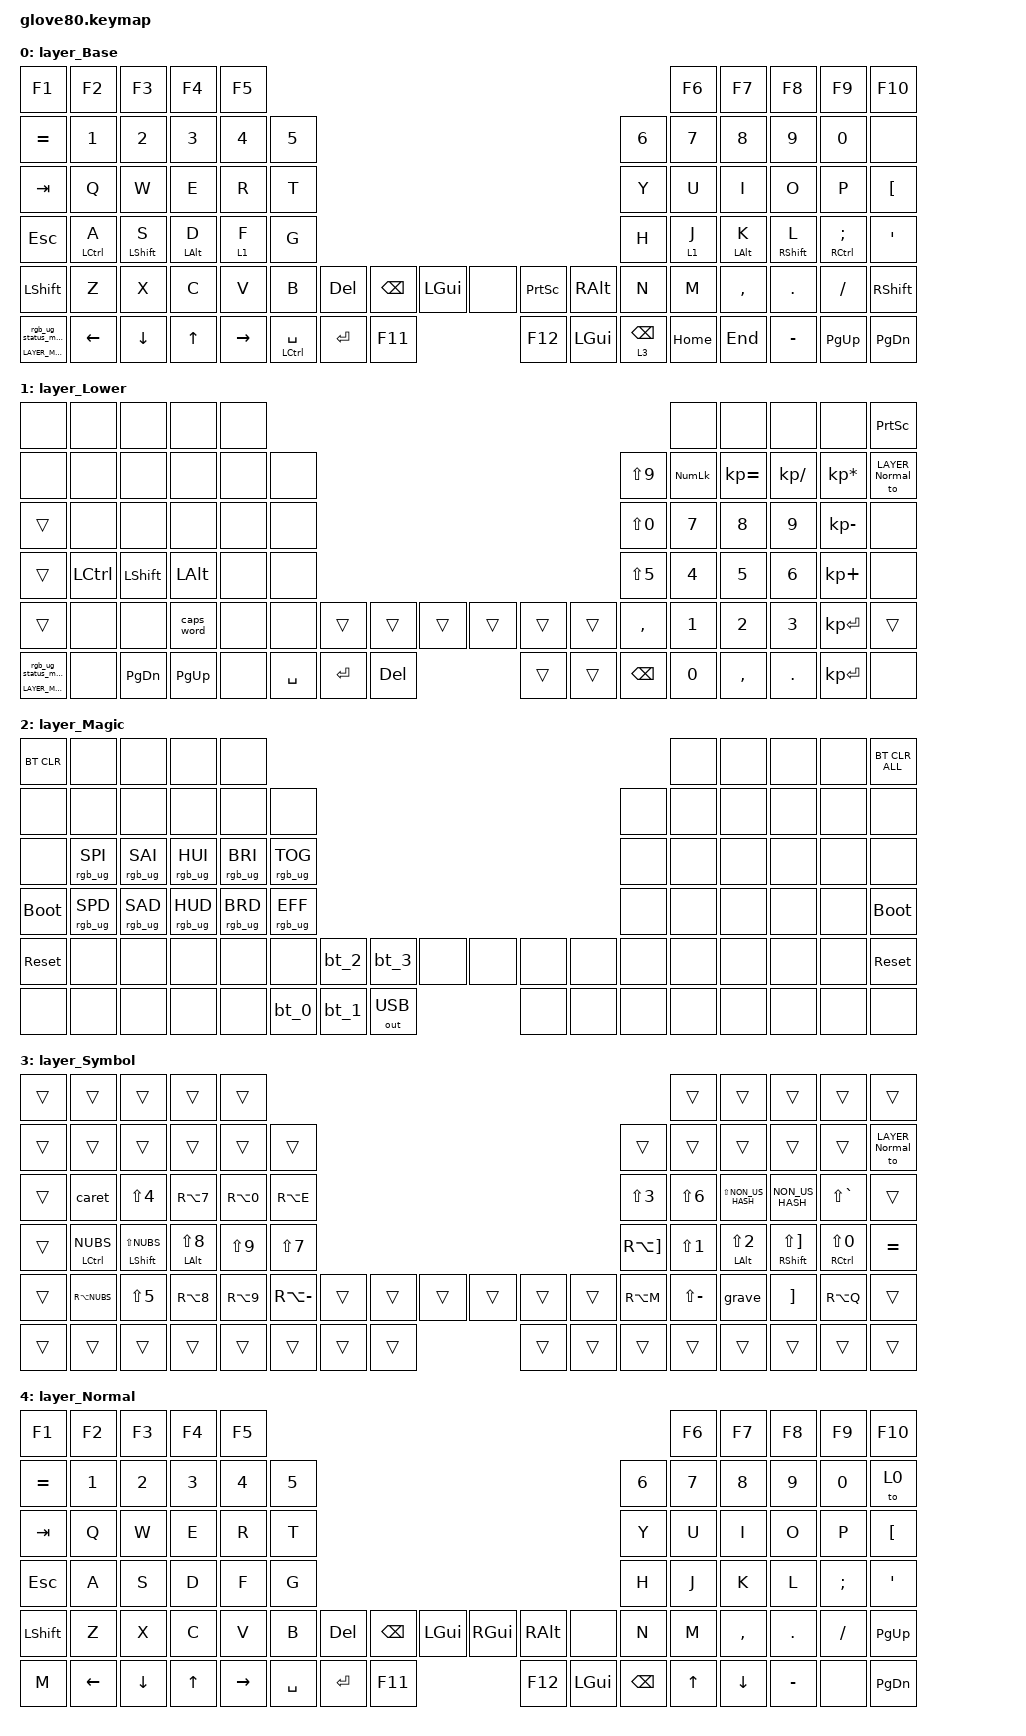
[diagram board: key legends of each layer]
/*
 * Copyright (c) 2020 The ZMK Contributors
 * Copyright (c) 2025 Innaworks Development Limited, trading as MoErgo
 *
 * SPDX-License-Identifier: MIT
 */


/* THIS FILE WAS GENERATED BY GLOVE80 LAYOUT EDITOR
 *
 * This file was generated automatically. You may or may not want to
 * edit it directly.
 */

#include <behaviors.dtsi>
/* Include all behavior includes needed */
#include <dt-bindings/zmk/outputs.h>
#include <dt-bindings/zmk/keys.h>
#include <dt-bindings/zmk/bt.h>
#include <dt-bindings/zmk/rgb.h>

/* On demand includes */


/* Helper Macros, based on https://github.com/urob/zmk-helpers/ */

#pragma once

#define ZMK_HELPER_STRINGIFY(x) #x

// Preprocessor mechanism to overload macros, cf. https://stackoverflow.com/a/27051616/6114651
#define VARGS_(_10, _9, _8, _7, _6, _5, _4, _3, _2, _1, N, ...) N
#define VARGS(...) VARGS_(__VA_ARGS__, 10, 9, 8, 7, 6, 5, 4, 3, 2, 1, 0)
#define CONCAT_(a, b) a##b
#define CONCAT(a, b) CONCAT_(a, b)

#define ZMK_BEHAVIOR_CORE_tap_dance  \
    compatible = "zmk,behavior-tap-dance"; \
    #binding-cells = <0>

#define ZMK_BEHAVIOR(name, type, ...) \
    name: name { \
        ZMK_BEHAVIOR_CORE_ ## type; \
        __VA_ARGS__ \
    };

#define ZMK_TAP_DANCE(name, ...) \
    ZMK_BEHAVIOR(name, tap_dance, __VA_ARGS__)

#define ZMK_TD_LAYER(name, layer) \
    ZMK_TAP_DANCE(name, \
        tapping-term-ms = <200>; \
        bindings = <&mo layer>, <&to layer>; \
)

/* Environment and metadata defines */
#define KB_TYPE_GLOVE_80 1
#define KB_TYPE_GO_60    2

#define KB_TYPE          KB_TYPE_GLOVE_80
#define EDITOR_HOST_OS   'L'

/* Automatically generated layer name defines */
#define LAYER_Base 0
#define LAYER_Lower 1
#define LAYER_Magic 2
#define LAYER_Symbol 3
#define LAYER_Normal 4

/* To deal with the situation where there is no Lower layer, to keep &lower happy */
#ifndef LAYER_Lower
#define LAYER_Lower 0
#endif

/* Custom Device-tree */
	&caps_word {
		continue-list = <
			UNDERSCORE MINUS FSLH DOT COMMA SPACE GRAVE NUBS NON_US_HASH EQUAL RBKT PLUS
			BACKSPACE DELETE ENTER TAB SINGLE_QUOTE LEFT_BRACKET SEMICOLON
			LEFT_SHIFT RIGHT_SHIFT LEFT UP DOWN RIGHT HOME END PG_UP PG_DN
			N1 N2 N3 N4 N5 N6 N7 N8 N9 N0 F1 F2 F3 F4 F5 F6 F7 F8 F9 F10 F11 F12
		>;
	};

/* Input Listeners */


/* System behavior and Macros */
/ {
    behaviors {
        ZMK_TD_LAYER(lower, LAYER_Lower)
    };
};

/ {
    macros {
        rgb_ug_status_macro: rgb_ug_status_macro {
            label = "RGB_UG_STATUS";
            compatible = "zmk,behavior-macro";
            #binding-cells = <0>;
            bindings
                = <&rgb_ug RGB_STATUS>;
        };
    };
};


/ {
#ifdef BT_DISC_CMD
    behaviors {
        bt_0: bt_0 {
            compatible = "zmk,behavior-tap-dance";
            label = "BT_0";
            #binding-cells = <0>;
            tapping-term-ms = <200>;
            bindings = <&bt_select_0>, <&bt BT_DISC 0>;
        };
        bt_1: bt_1 {
            compatible = "zmk,behavior-tap-dance";
            label = "BT_1";
            #binding-cells = <0>;
            tapping-term-ms = <200>;
            bindings = <&bt_select_1>, <&bt BT_DISC 1>;
        };
        bt_2: bt_2 {
            compatible = "zmk,behavior-tap-dance";
            label = "BT_2";
            #binding-cells = <0>;
            tapping-term-ms = <200>;
            bindings = <&bt_select_2>, <&bt BT_DISC 2>;
        };
        bt_3: bt_3 {
            compatible = "zmk,behavior-tap-dance";
            label = "BT_3";
            #binding-cells = <0>;
            tapping-term-ms = <200>;
            bindings = <&bt_select_3>, <&bt BT_DISC 3>;
        };
    };
    macros {
        bt_select_0: bt_select_0 {
            label = "BT_SELECT_0";
            compatible = "zmk,behavior-macro";
            #binding-cells = <0>;
            bindings
                = <&out OUT_BLE>,
                  <&bt BT_SEL 0>;
        };
        bt_select_1: bt_select_1 {
            label = "BT_SELECT_1";
            compatible = "zmk,behavior-macro";
            #binding-cells = <0>;
            bindings
                = <&out OUT_BLE>,
                  <&bt BT_SEL 1>;
        };
        bt_select_2: bt_select_2 {
            label = "BT_SELECT_2";
            compatible = "zmk,behavior-macro";
            #binding-cells = <0>;
            bindings
                = <&out OUT_BLE>,
                  <&bt BT_SEL 2>;
        };
        bt_select_3: bt_select_3 {
            label = "BT_SELECT_3";
            compatible = "zmk,behavior-macro";
            #binding-cells = <0>;
            bindings
                = <&out OUT_BLE>,
                  <&bt BT_SEL 3>;
        };
    };
#else
    macros {
        bt_0: bt_0 {
            label = "BT_0";
            compatible = "zmk,behavior-macro";
            #binding-cells = <0>;
            bindings
                = <&out OUT_BLE>,
                  <&bt BT_SEL 0>;
        };
        bt_1: bt_1 {
            label = "BT_1";
            compatible = "zmk,behavior-macro";
            #binding-cells = <0>;
            bindings
                = <&out OUT_BLE>,
                  <&bt BT_SEL 1>;
        };
        bt_2: bt_2 {
            label = "BT_2";
            compatible = "zmk,behavior-macro";
            #binding-cells = <0>;
            bindings
                = <&out OUT_BLE>,
                  <&bt BT_SEL 2>;
        };
        bt_3: bt_3 {
            label = "BT_3";
            compatible = "zmk,behavior-macro";
            #binding-cells = <0>;
            bindings
                = <&out OUT_BLE>,
                  <&bt BT_SEL 3>;
        };
    };
#endif
};

/ {
    behaviors {
        magic: magic {
            compatible = "zmk,behavior-hold-tap";
            label = "MAGIC_HOLD_TAP";
            #binding-cells = <2>;
            flavor = "tap-preferred";
            tapping-term-ms = <200>;
            bindings = <&mo>, <&rgb_ug_status_macro>;
        };
    };
};


/* Locale-specific keycodes */

#define DE_CIRCUM GRAVE
#define DE_SZ MINUS
#define DE_ACUTE EQUAL
#define DE_Q Q
#define DE_E E
#define DE_Y Z
#define DE_UE LEFT_BRACKET
#define DE_PLUS RIGHT_BRACKET
#define DE_M M
#define DE_OE SEMICOLON
#define DE_AE SINGLE_QUOTE
#define DE_POUND BACKSLASH
#define DE_Z Y
#define DE_LT NON_US_BACKSLASH
#define DE_COMMA COMMA
#define DE_DOT PERIOD
#define DE_MINUS SLASH
#define DE_N1 N1
#define DE_N2 N2
#define DE_N3 N3
#define DE_N4 N4
#define DE_N5 N5
#define DE_N6 N6
#define DE_N7 N7
#define DE_N8 N8
#define DE_N9 N9
#define DE_N0 N0


/* Key positions */

#define POS_LH_C6R1 0
#define POS_LH_C5R1 1
#define POS_LH_C4R1 2
#define POS_LH_C3R1 3
#define POS_LH_C2R1 4
#define POS_RH_C2R1 5
#define POS_RH_C3R1 6
#define POS_RH_C4R1 7
#define POS_RH_C5R1 8
#define POS_RH_C6R1 9
#define POS_LH_C6R2 10
#define POS_LH_C5R2 11
#define POS_LH_C4R2 12
#define POS_LH_C3R2 13
#define POS_LH_C2R2 14
#define POS_LH_C1R2 15
#define POS_RH_C1R2 16
#define POS_RH_C2R2 17
#define POS_RH_C3R2 18
#define POS_RH_C4R2 19
#define POS_RH_C5R2 20
#define POS_RH_C6R2 21
#define POS_LH_C6R3 22
#define POS_LH_C5R3 23
#define POS_LH_C4R3 24
#define POS_LH_C3R3 25
#define POS_LH_C2R3 26
#define POS_LH_C1R3 27
#define POS_RH_C1R3 28
#define POS_RH_C2R3 29
#define POS_RH_C3R3 30
#define POS_RH_C4R3 31
#define POS_RH_C5R3 32
#define POS_RH_C6R3 33
#define POS_LH_C6R4 34
#define POS_LH_C5R4 35
#define POS_LH_C4R4 36
#define POS_LH_C3R4 37
#define POS_LH_C2R4 38
#define POS_LH_C1R4 39
#define POS_RH_C1R4 40
#define POS_RH_C2R4 41
#define POS_RH_C3R4 42
#define POS_RH_C4R4 43
#define POS_RH_C5R4 44
#define POS_RH_C6R4 45
#define POS_LH_C6R5 46
#define POS_LH_C5R5 47
#define POS_LH_C4R5 48
#define POS_LH_C3R5 49
#define POS_LH_C2R5 50
#define POS_LH_C1R5 51
#define POS_LH_T1 52
#define POS_LH_T2 53
#define POS_LH_T3 54
#define POS_RH_T3 55
#define POS_RH_T2 56
#define POS_RH_T1 57
#define POS_RH_C1R5 58
#define POS_RH_C2R5 59
#define POS_RH_C3R5 60
#define POS_RH_C4R5 61
#define POS_RH_C5R5 62
#define POS_RH_C6R5 63
#define POS_LH_C6R6 64
#define POS_LH_C5R6 65
#define POS_LH_C4R6 66
#define POS_LH_C3R6 67
#define POS_LH_C2R6 68
#define POS_LH_T4 69
#define POS_LH_T5 70
#define POS_LH_T6 71
#define POS_RH_T6 72
#define POS_RH_T5 73
#define POS_RH_T4 74
#define POS_RH_C2R6 75
#define POS_RH_C3R6 76
#define POS_RH_C4R6 77
#define POS_RH_C5R6 78
#define POS_RH_C6R6 79


/* Custom Defined Behaviors */
/ {
macros {
	caret: caret {
		compatible = "zmk,behavior-macro";
		#binding-cells = <0>;
		bindings = <&kp GRAVE &kp SPACE>;
	};

	grave: grave {
		compatible = "zmk,behavior-macro";
		#binding-cells = <0>;
		bindings
			= <&macro_press &kp LSHFT>
			, <&macro_tap &kp EQUAL &kp SPACE>
			, <&macro_release &kp LSHFT>
			;
	};

	// Not used because the acute is more useful as a deadkey currently
	acute: acute {
		compatible = "zmk,behavior-macro";
		#binding-cells = <0>;
		bindings = <&macro_tap &kp EQUAL &kp SPACE>;
	};
};


behaviors {

  // Glove80 key positions
  // |------------------------|------------------------|
  // | LEFT_HAND_KEYS         |        RIGHT_HAND_KEYS |
  // |                        |                        |
  // |  0  1  2  3  4         |          5  6  7  8  9 |
  // | 10 11 12 13 14 15      |      16 17 18 19 20 21 |
  // | 22 23 24 25 26 27      |      28 29 30 31 32 33 |
  // | 34 35 36 37 38 39      |      40 41 42 43 44 45 |
  // | 46 47 48 49 50 51      |      58 59 60 61 62 63 |
  // | 64 65 66 67 68         |         75 76 77 78 79 |
  // |                69 52   |   57 74                |
  // |                 70 53  |  56 73                 |
  // |                  71 54 | 55 72                  |
  // |------------------------|------------------------|
  //
  //
  #define LEFT_HAND_KEYS 0 1 2 3 4 10 11 12 13 14 15 22 23 24 25 26 27 34 35 36 37 38 39 46 47 48 49 50 51 64 65 66 67 68


  #define RIGHT_HAND_KEYS 5 6 7 8 9 16 17 18 19 20 21 28 29 30 31 32 33 40 41 42 43 44 45 58 59 60 61 62 63 75 76 77 78 79


  #define THUMB_KEYS 69 52 57 74 70 53 56 73 71 54 55 72

  #define TAPPING_TERM_MS 200
  #define QUICK_TAP_MS 300
  #define REQUIRE_PRIOR_IDLE_MS 125

	// https://zmk.dev/docs/behaviors/hold-tap#hold-tap
	bhm_right: bhm_right {
		compatible = "zmk,behavior-hold-tap";
		label = "bhm_right";
		#binding-cells = <2>;
		tapping-term-ms = <TAPPING_TERM_MS>;
		quick-tap-ms = <QUICK_TAP_MS>;
		require-prior-idle-ms = <REQUIRE_PRIOR_IDLE_MS>;
		hold-trigger-key-positions = <LEFT_HAND_KEYS THUMB_KEYS>;
		hold-trigger-on-release;
		flavor = "balanced";
		bindings = <&kp>, <&kp>;
	};
		
	bhm_left: bhm_left {
		compatible = "zmk,behavior-hold-tap";
		label = "bhm_left";
		#binding-cells = <2>;
		tapping-term-ms = <TAPPING_TERM_MS>;
		quick-tap-ms = <QUICK_TAP_MS>;
		require-prior-idle-ms = <REQUIRE_PRIOR_IDLE_MS>;
		hold-trigger-key-positions = <RIGHT_HAND_KEYS THUMB_KEYS>;
		hold-trigger-on-release;
		flavor = "balanced";
		bindings = <&kp>, <&kp>;
	};

	hrm_mo_right: hrm_mo_right {
		compatible = "zmk,behavior-hold-tap";
		label = "hrm_mo_right";
		#binding-cells = <2>;
		tapping-term-ms = <TAPPING_TERM_MS>;
		quick-tap-ms = <QUICK_TAP_MS>;
		require-prior-idle-ms = <REQUIRE_PRIOR_IDLE_MS>;
		hold-trigger-key-positions = <RIGHT_HAND_KEYS THUMB_KEYS>;
		hold-trigger-on-release;
		flavor = "balanced";
		bindings = <&mo>, <&kp>;
	};

	hrm_mo_left: hrm_mo_left {
		compatible = "zmk,behavior-hold-tap";
		label = "hrm_mo_left";
		#binding-cells = <2>;
		tapping-term-ms = <TAPPING_TERM_MS>;
		quick-tap-ms = <QUICK_TAP_MS>;
		require-prior-idle-ms = <REQUIRE_PRIOR_IDLE_MS>;
		hold-trigger-key-positions = <RIGHT_HAND_KEYS THUMB_KEYS>;
		hold-trigger-on-release;
		flavor = "balanced";
		bindings = <&mo>, <&kp>;
	};

	thumb_mo_kp: thumb_mo_kp {
		compatible = "zmk,behavior-hold-tap";
		label = "thumb_mo_kp";
		#binding-cells = <2>;
		tapping-term-ms = <TAPPING_TERM_MS>;
		flavor = "balanced";
		bindings = <&mo>, <&kp>;
	};

	thumb_kp_kp: thumb_kp_kp {
		compatible = "zmk,behavior-hold-tap";
		label = "thumb_kp_kp";
		#binding-cells = <2>;
		tapping-term-ms = <TAPPING_TERM_MS>;
		flavor = "balanced";
		bindings = <&kp>, <&kp>;
	};

    // Old space introduces additional spaces when typing fast in combination
    // with the symbol layer. e.g.: 'var tmp = "' becomes 'var tmp  ö'
    /*
	space: space {
		compatible = "zmk,behavior-hold-tap";
		label = "space";
		flavor = "balanced";
		tapping-term-ms = <170>;
		quick-tap-ms = <QUICK_TAP_MS>;
		retro-tap;
		#binding-cells = <2>;
		bindings = <&mo>, <&kp>;
	};
    */
	
    // Old thumb
    /*
	thumb: thumb {
		compatible = "zmk,behavior-hold-tap";
		label = "thumb";
		flavor = "balanced";
		tapping-term-ms = <TAPPING_TERM_MS>;
		quick-tap-ms = <QUICK_TAP_MS>;
		#binding-cells = <2>;
		bindings = <&mo>, <&kp>;
	};
    */

	esc_or_f4: esc_or_f4 {
		compatible = "zmk,behavior-mod-morph";
		label = "esc_or_f4";
		#binding-cells = <0>;
		bindings = <&kp ESC>, <&kp F4>;
		mods = <(MOD_LALT)>;
		keep-mods = <(MOD_LALT)>;
	};
};

};

/* Generated input processors */


/* Automatically generated macro definitions */
/ {
    macros {

    };
};

/* Automatically generated behavior definitions */
/ {
    behaviors {


    };
};

/* Automatically generated combos definitions */


/* Automatically generated keymap */
/ {
    keymap {
        compatible = "zmk,keymap";


        layer_Base {
            bindings = <
               &kp F1             &kp F2             &kp F3            &kp F4            &kp F5                                                                                                                         &kp F6             &kp F7              &kp F8                      &kp F9           &kp F10
            &kp EQUAL             &kp N1             &kp N2            &kp N3            &kp N4  &kp N5                                                                                              &kp N6             &kp N7             &kp N8              &kp N9                      &kp N0             &none
              &kp TAB              &kp Q              &kp W             &kp E             &kp R   &kp T                                                                                               &kp Y              &kp U              &kp I               &kp O                       &kp P  &kp LEFT_BRACKET
              &kp ESC  &bhm_left LCTRL A  &bhm_left LSHFT S  &bhm_left LALT D  &hrm_mo_left 1 F   &kp G                                                                                               &kp H  &hrm_mo_right 1 J  &bhm_right LALT K  &bhm_right RSHFT L  &bhm_right RCTRL SEMICOLON  &kp SINGLE_QUOTE
            &kp LSHFT              &kp Z              &kp X             &kp C             &kp V   &kp B                   &kp DEL  &kp BSPC  &kp LGUI    &none  &kp PSCRN                  &kp RALT   &kp N              &kp M          &kp COMMA             &kp DOT                    &kp FSLH         &kp RSHFT
 &magic LAYER_Magic 0           &kp LEFT           &kp DOWN            &kp UP         &kp RIGHT          &thumb_kp_kp LCTRL SPACE   &kp RET   &kp F11  &kp F12   &kp LGUI  &thumb_mo_kp 3 BACKSPACE                   &kp HOME            &kp END           &kp MINUS                   &kp PG_UP         &kp PG_DN
            >;
        };

        layer_Lower {
            bindings = <
                &none      &none      &none       &none   &none                                                                                  &none         &none         &none            &none         &kp PSCRN
                &none      &none      &none       &none   &none   &none                                                         &kp LS(N9)  &kp KP_NUM  &kp KP_EQUAL  &kp KP_SLASH  &kp KP_MULTIPLY  &to LAYER_Normal
               &trans      &none      &none       &none   &none   &none                                                         &kp LS(N0)      &kp N7        &kp N8        &kp N9     &kp KP_MINUS             &none
               &trans  &kp LCTRL  &kp LSHFT    &kp LALT   &none   &none                                                         &kp LS(N5)      &kp N4        &kp N5        &kp N6      &kp KP_PLUS             &none
               &trans      &none      &none  &caps_word   &none   &none     &trans   &trans   &trans  &trans  &trans    &trans   &kp COMMA      &kp N1        &kp N2        &kp N3     &kp KP_ENTER            &trans
 &magic LAYER_Magic 0      &none  &kp PG_DN   &kp PG_UP   &none          &kp SPACE  &kp RET  &kp DEL  &trans  &trans  &kp BSPC                  &kp N0     &kp COMMA       &kp DOT     &kp KP_ENTER             &none
            >;
        };

        layer_Magic {
            bindings = <
  &bt BT_CLR            &none            &none            &none            &none                                                                                  &none   &none   &none   &none  &bt BT_CLR_ALL
       &none            &none            &none            &none            &none            &none                                                         &none   &none   &none   &none   &none           &none
       &none  &rgb_ug RGB_SPI  &rgb_ug RGB_SAI  &rgb_ug RGB_HUI  &rgb_ug RGB_BRI  &rgb_ug RGB_TOG                                                         &none   &none   &none   &none   &none           &none
 &bootloader  &rgb_ug RGB_SPD  &rgb_ug RGB_SAD  &rgb_ug RGB_HUD  &rgb_ug RGB_BRD  &rgb_ug RGB_EFF                                                         &none   &none   &none   &none   &none     &bootloader
  &sys_reset            &none            &none            &none            &none            &none   &bt_2   &bt_3         &none   &none   &none   &none   &none   &none   &none   &none   &none      &sys_reset
       &none            &none            &none            &none            &none                    &bt_0   &bt_1  &out OUT_USB   &none   &none   &none           &none   &none   &none   &none           &none
            >;
        };

        layer_Symbol {
            bindings = <
 &trans                &trans                    &trans                 &trans      &trans                                                                                      &trans                  &trans                     &trans                   &trans            &trans
 &trans                &trans                    &trans                 &trans      &trans         &trans                                                        &trans         &trans                  &trans                     &trans                   &trans  &to LAYER_Normal
 &trans                &caret                &kp LS(N4)             &kp RA(N7)  &kp RA(N0)      &kp RA(E)                                                    &kp LS(N3)     &kp LS(N6)     &kp LS(NON_US_HASH)            &kp NON_US_HASH            &kp LS(GRAVE)            &trans
 &trans  &bhm_left LCTRL NUBS  &bhm_left LSHFT LS(NUBS)  &bhm_left LALT LS(N8)  &kp LS(N9)     &kp LS(N7)                                                  &kp RA(RBKT)     &kp LS(N1)  &bhm_right LALT LS(N2)  &bhm_right RSHFT LS(RBKT)  &bhm_right RCTRL LS(N0)         &kp EQUAL
 &trans          &kp RA(NUBS)                &kp LS(N5)             &kp RA(N8)  &kp RA(N9)  &kp RA(MINUS)  &trans  &trans  &trans  &trans  &trans  &trans     &kp RA(M)  &kp LS(MINUS)                  &grave                   &kp RBKT                &kp RA(Q)            &trans
 &trans                &trans                    &trans                 &trans      &trans                 &trans  &trans  &trans  &trans  &trans  &trans                       &trans                  &trans                     &trans                   &trans            &trans
            >;
        };

        layer_Normal {
            bindings = <
    &kp F1    &kp F2    &kp F3  &kp F4     &kp F5                                                                               &kp F6     &kp F7     &kp F8         &kp F9           &kp F10
 &kp EQUAL    &kp N1    &kp N2  &kp N3     &kp N4  &kp N5                                                               &kp N6  &kp N7     &kp N8     &kp N9         &kp N0             &to 0
   &kp TAB     &kp Q     &kp W   &kp E      &kp R   &kp T                                                                &kp Y   &kp U      &kp I      &kp O          &kp P  &kp LEFT_BRACKET
   &kp ESC     &kp A     &kp S   &kp D      &kp F   &kp G                                                                &kp H   &kp J      &kp K      &kp L  &kp SEMICOLON  &kp SINGLE_QUOTE
 &kp LSHFT     &kp Z     &kp X   &kp C      &kp V   &kp B    &kp DEL  &kp BSPC  &kp LGUI  &kp RGUI  &kp RALT     &none   &kp N   &kp M  &kp COMMA    &kp DOT       &kp FSLH         &kp PG_UP
     &kp M  &kp LEFT  &kp DOWN  &kp UP  &kp RIGHT          &kp SPACE   &kp RET   &kp F11   &kp F12  &kp LGUI  &kp BSPC          &kp UP   &kp DOWN  &kp MINUS          &none         &kp PG_DN
            >;
        };

    };
};
